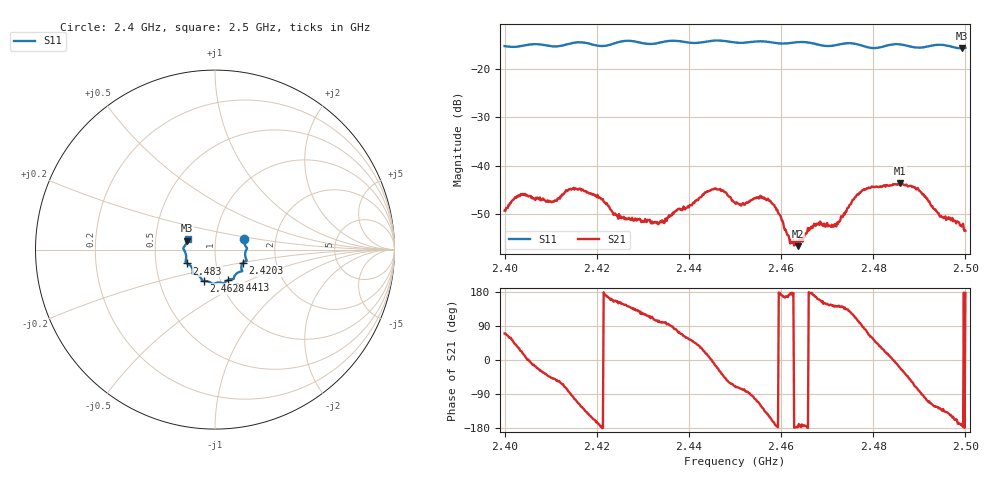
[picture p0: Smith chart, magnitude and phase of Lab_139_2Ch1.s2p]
# Hz S RI R 50
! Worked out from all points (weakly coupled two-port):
!   601 points, 2.4 GHz to 2.5 GHz, reference 50 ohm
!   highest |S21| = -43.64 dB at 2.4858 GHz (marker M1); lowest = -56.6 dB at 2.4637 GHz (marker M2)
!   lowest |S11| = -15.8 dB at 2.4993 GHz (marker M3), VSWR 1.39, Z = 36.5 + j3.7 ohm
!   |S11| at or under -10 dB: start of sweep to end of sweep
!   S12 and S22 are empty: the file has one direction only
!   S11 on the Smith chart (normalised r, x): 2.4 GHz: 1.37, +0.16; 2.4203 GHz: 1.35, -0.21; 2.4413 GHz: 1.09, -0.38; 2.4628 GHz: 0.83, -0.30; 2.483 GHz: 0.72, -0.11; 2.5 GHz: 0.73, +0.09
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2.4e9  0.1608 0.0571  0.00117 0.00323  0 0  0 0
2.4035e9  0.1691 0.0215  0.00466 0.00206  0 0  0 0
2.410167e9  0.1699 -0.0118  0.00284 -0.00309  0 0  0 0
2.416667e9  0.1763 -0.0616  -0.00308 -0.0046  0 0  0 0
2.420333e9  0.1552 -0.0741  -0.00464 -0.00101  0 0  0 0
2.425e9  0.1503 -0.115  -0.00252 0.00138  0 0  0 0
2.433333e9  0.1082 -0.1485  -0.000442 0.00244  0 0  0 0
2.441333e9  0.0744 -0.168  0.00305 0.00306  0 0  0 0
2.445833e9  0.0501 -0.1884  0.00561 -0.00158  0 0  0 0
2.45e9  0.0294 -0.1836  0.00148 -0.00385  0 0  0 0
2.4575e9  -0.0196 -0.1868  -0.00372 -0.00219  0 0  0 0
2.462833e9  -0.063 -0.1746  -0.0015 -3.95e-05  0 0  0 0
2.463667e9  -0.0674 -0.1751  -0.00148 -7.53e-05  0 0  0 0
2.466667e9  -0.0742 -0.1676  -0.00236 0.000105  0 0  0 0
2.471833e9  -0.1095 -0.1358  -0.00187 0.00147  0 0  0 0
2.4775e9  -0.1241 -0.1203  -0.000153 0.00545  0 0  0 0
2.483e9  -0.1549 -0.0769  0.00607 0.00178  0 0  0 0
2.483333e9  -0.1571 -0.0759  0.00606 0.00131  0 0  0 0
2.485833e9  -0.1641 -0.0686  0.00611 -0.00242  0 0  0 0
2.4895e9  -0.1609 -0.0348  0.00147 -0.00555  0 0  0 0
2.499333e9  -0.1542 0.0494  -0.00246 -0.000267  0 0  0 0
2.5e9  -0.1527 0.0584  -0.00213 0.000117  0 0  0 0
